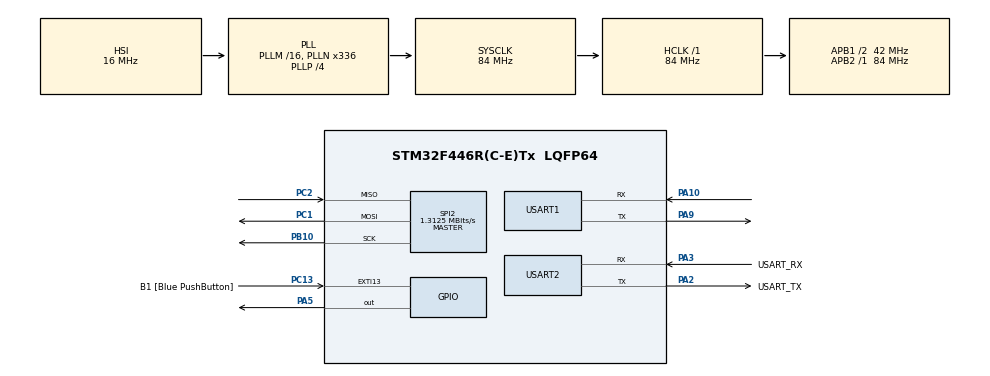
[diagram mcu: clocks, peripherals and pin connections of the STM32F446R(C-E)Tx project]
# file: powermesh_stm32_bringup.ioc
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Dma.Request0=USART1_RX
Dma.Request1=USART1_TX
Dma.Request2=USART2_RX
Dma.Request3=USART2_TX
Dma.USART1_RX.0.Direction=DMA_PERIPH_TO_MEMORY
Dma.USART1_RX.0.FIFOMode=DMA_FIFOMODE_DISABLE
Dma.USART1_RX.0.Instance=DMA2_Stream2
Dma.USART1_RX.0.MemDataAlignment=DMA_MDATAALIGN_BYTE
Dma.USART1_RX.0.MemInc=DMA_MINC_ENABLE
Dma.USART1_RX.0.Mode=DMA_CIRCULAR
Dma.USART1_RX.0.PeriphDataAlignment=DMA_PDATAALIGN_BYTE
Dma.USART1_RX.0.PeriphInc=DMA_PINC_DISABLE
Dma.USART1_RX.0.Priority=DMA_PRIORITY_HIGH
Dma.USART1_TX.1.Direction=DMA_MEMORY_TO_PERIPH
Dma.USART1_TX.1.FIFOMode=DMA_FIFOMODE_DISABLE
Dma.USART1_TX.1.Instance=DMA2_Stream7
Dma.USART1_TX.1.MemDataAlignment=DMA_MDATAALIGN_BYTE
Dma.USART1_TX.1.MemInc=DMA_MINC_ENABLE
Dma.USART1_TX.1.Mode=DMA_NORMAL
Dma.USART1_TX.1.PeriphDataAlignment=DMA_PDATAALIGN_BYTE
Dma.USART1_TX.1.PeriphInc=DMA_PINC_DISABLE
Dma.USART1_TX.1.Priority=DMA_PRIORITY_MEDIUM
Dma.USART2_RX.2.Direction=DMA_PERIPH_TO_MEMORY
Dma.USART2_RX.2.FIFOMode=DMA_FIFOMODE_DISABLE
Dma.USART2_RX.2.Instance=DMA1_Stream5
Dma.USART2_RX.2.MemDataAlignment=DMA_MDATAALIGN_BYTE
Dma.USART2_RX.2.MemInc=DMA_MINC_ENABLE
Dma.USART2_RX.2.Mode=DMA_CIRCULAR
Dma.USART2_RX.2.PeriphDataAlignment=DMA_PDATAALIGN_BYTE
Dma.USART2_RX.2.PeriphInc=DMA_PINC_DISABLE
Dma.USART2_RX.2.Priority=DMA_PRIORITY_HIGH
Dma.USART2_TX.3.Direction=DMA_MEMORY_TO_PERIPH
Dma.USART2_TX.3.FIFOMode=DMA_FIFOMODE_DISABLE
Dma.USART2_TX.3.Instance=DMA1_Stream6
Dma.USART2_TX.3.MemDataAlignment=DMA_MDATAALIGN_BYTE
Dma.USART2_TX.3.MemInc=DMA_MINC_ENABLE
Dma.USART2_TX.3.Mode=DMA_NORMAL
Dma.USART2_TX.3.PeriphDataAlignment=DMA_PDATAALIGN_BYTE
Dma.USART2_TX.3.PeriphInc=DMA_PINC_DISABLE
Dma.USART2_TX.3.Priority=DMA_PRIORITY_MEDIUM
Mcu.Family=STM32F4
Mcu.Name=STM32F446R(C-E)Tx
Mcu.Package=LQFP64
NVIC.DMA1_Stream5_IRQn=true\:5\:0\:true\:false\:true\:false\:true\:true
NVIC.DMA1_Stream6_IRQn=true\:5\:0\:true\:false\:true\:false\:true\:true
NVIC.DMA2_Stream2_IRQn=true\:5\:0\:true\:false\:true\:false\:true\:true
NVIC.DMA2_Stream7_IRQn=true\:5\:0\:true\:false\:true\:false\:true\:true
NVIC.PriorityGroup=NVIC_PRIORITYGROUP_4
NVIC.USART1_IRQn=true\:5\:0\:true\:false\:true\:true\:true\:true
NVIC.USART2_IRQn=true\:5\:0\:true\:false\:true\:true\:true\:true
PA10.Mode=Asynchronous
PA10.Signal=USART1_RX
PA13.GPIO_Label=TMS
PA13.Mode=Serial_Wire
PA13.Signal=SYS_JTMS-SWDIO
PA14.GPIO_Label=TCK
PA14.Mode=Serial_Wire
PA14.Signal=SYS_JTCK-SWCLK
PA2.GPIO_Label=USART_TX
PA2.Mode=Asynchronous
PA2.Signal=USART2_TX
PA3.GPIO_Label=USART_RX
PA3.Mode=Asynchronous
PA3.Signal=USART2_RX
PA5.Signal=GPIO_Output
PA9.Mode=Asynchronous
PA9.Signal=USART1_TX
PB10.Mode=Full_Duplex_Master
PB10.Signal=SPI2_SCK
PB3.GPIO_Label=SWO
PB3.Signal=SYS_JTDO-SWO
PC1.Mode=Full_Duplex_Master
PC1.Signal=SPI2_MOSI
PC13.GPIO_Label=B1 [Blue PushButton]
PC13.GPIO_ModeDefaultEXTI=GPIO_MODE_IT_FALLING
PC13.Signal=GPXTI13
PC14-OSC32_IN.Mode=LSE-External-Oscillator
PC14-OSC32_IN.Signal=RCC_OSC32_IN
PC15-OSC32_OUT.Mode=LSE-External-Oscillator
PC15-OSC32_OUT.Signal=RCC_OSC32_OUT
PC2.Mode=Full_Duplex_Master
PC2.Signal=SPI2_MISO
PH0-OSC_IN.Mode=HSE-External-Oscillator
PH0-OSC_IN.Signal=RCC_OSC_IN
PH1-OSC_OUT.Mode=HSE-External-Oscillator
PH1-OSC_OUT.Signal=RCC_OSC_OUT
ProjectManager.HeapSize=0x200
ProjectManager.StackSize=0x400
ProjectManager.TargetToolchain=CMake
RCC.48MHZClocksFreq_Value=84000000
RCC.AHBFreq_Value=84000000
RCC.APB1CLKDivider=RCC_HCLK_DIV2
RCC.APB1Freq_Value=42000000
RCC.APB1TimFreq_Value=84000000
RCC.APB2Freq_Value=84000000
RCC.APB2TimFreq_Value=84000000
RCC.CortexFreq_Value=84000000
RCC.FLatency-AdvancedSettings=FLASH_LATENCY_2
RCC.HCLKFreq_Value=84000000
RCC.HSE_VALUE=8000000
RCC.HSI_VALUE=16000000
RCC.PLLN=336
RCC.PLLP=RCC_PLLP_DIV4
RCC.SYSCLKFreq_VALUE=84000000
RCC.SYSCLKSource=RCC_SYSCLKSOURCE_PLLCLK
RCC.USBFreq_Value=168000000
RCC.VCOOutputFreq_Value=336000000
SPI2.BaudRatePrescaler=SPI_BAUDRATEPRESCALER_32
SPI2.CalculateBaudRate=1.3125 MBits/s
SPI2.Direction=SPI_DIRECTION_2LINES
SPI2.Mode=SPI_MODE_MASTER
SPI2.VirtualType=VM_MASTER
USART1.VirtualMode=VM_ASYNC
USART2.VirtualMode=VM_ASYNC
board=NUCLEO-F446RE

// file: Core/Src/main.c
/* USER CODE BEGIN Header */
/**
  ******************************************************************************
  * @file           : main.c
  * @brief          : Main program body
  ******************************************************************************
  * @attention
  *
  * Copyright (c) 2026 STMicroelectronics.
  * All rights reserved.
  *
  * This software is licensed under terms that can be found in the LICENSE file
  * in the root directory of this software component.
  * If no LICENSE file comes with this software, it is provided AS-IS.
  *
  ******************************************************************************
  */
/* USER CODE END Header */
#include "main.h"
#include "dma.h"
#include "spi.h"
#include "usart.h"
#include "gpio.h"

/* USER CODE BEGIN Includes */
#include "powermesh_board.h"
#include "uart_transport.h"
#include "packet_router.h"
/* USER CODE END Includes */

/* USER CODE BEGIN PV */
static uart_transport_t pi_transport;
static uart_transport_t remote_transport;
static packet_router_t router;

static packet_port_t pi_port = PACKET_PORT_GATEWAY;
static packet_port_t remote_port = PACKET_PORT_REMOTE;
/* USER CODE END PV */

void SystemClock_Config(void);

/* USER CODE BEGIN 0 */
// Adapt the shared router interface to the F4 HAL UART transport.
static bool send_uart_frame(
    void *context,
    uint8_t type,
    uint16_t sequence,
    const uint8_t *payload,
    uint16_t length
)
{
    uart_transport_t *transport = (uart_transport_t *)context;

    return uart_transport_send(
        transport,
        type,
        sequence,
        payload,
        length
    ) == HAL_OK;
}

// Receive complete, CRC-validated frames from either UART.
static void on_uart_frame(const uart_frame_t *frame, void *context)
{
    if (frame == NULL || context == NULL)
    {
        return;
    }

    packet_port_t source = *(packet_port_t *)context;

    bool accepted = packet_router_receive(
        &router,
        source,
        frame
    );

    // Indicate that a DATA packet entered the forwarding queue.
    if (accepted && frame->type == UART_FRAME_TYPE_DATA)
    {
        HAL_GPIO_TogglePin(GPIOA, GPIO_PIN_5);
    }
}
/* USER CODE END 0 */

int main(void)
{

  /* MCU Configuration--------------------------------------------------------*/

  /* Reset of all peripherals, Initializes the Flash interface and the Systick. */
  HAL_Init();

  /* Configure the system clock */
  SystemClock_Config();

  /* Initialize all configured peripherals */
  MX_GPIO_Init();
  MX_DMA_Init();
  MX_USART2_UART_Init();
  MX_SPI2_Init();
  MX_USART1_UART_Init();
  /* USER CODE BEGIN 2 */
  // Confirm DMA is configured for both UARTs.
  if (POWERMESH_PI_UART->hdmarx == NULL ||
      POWERMESH_PI_UART->hdmatx == NULL ||
      POWERMESH_REMOTE_UART->hdmarx == NULL ||
      POWERMESH_REMOTE_UART->hdmatx == NULL)
  {
      Error_Handler();
  }

  // Connect the shared router to the two F4 UART transports.
  if (!packet_router_init(
          &router,
          send_uart_frame,
          &pi_transport,
          send_uart_frame,
          &remote_transport))
  {
      Error_Handler();
  }

  // Start Pi UART reception on USART2.
  if (uart_transport_start(
          &pi_transport,
          POWERMESH_PI_UART,
          on_uart_frame,
          &pi_port) != HAL_OK)
  {
      Error_Handler();
  }

  // Start remote UART reception on USART1.
  if (uart_transport_start(
          &remote_transport,
          POWERMESH_REMOTE_UART,
          on_uart_frame,
          &remote_port) != HAL_OK)
  {
      Error_Handler();
  }
  /* USER CODE END 2 */

  /* Infinite loop */
  while (1)
  {

    /* USER CODE BEGIN 3 */

    uart_transport_poll(&pi_transport);
    uart_transport_poll(&remote_transport);

    packet_router_poll(&router);
  }
  /* USER CODE END 3 */
}

void SystemClock_Config(void)
{
  RCC_OscInitTypeDef RCC_OscInitStruct = {0};
  RCC_ClkInitTypeDef RCC_ClkInitStruct = {0};

  /** Configure the main internal regulator output voltage
  */
  __HAL_RCC_PWR_CLK_ENABLE();
  __HAL_PWR_VOLTAGESCALING_CONFIG(PWR_REGULATOR_VOLTAGE_SCALE3);

  /** Initializes the RCC Oscillators according to the specified parameters
  * in the RCC_OscInitTypeDef structure.
  */
  RCC_OscInitStruct.OscillatorType = RCC_OSCILLATORTYPE_HSI;
  RCC_OscInitStruct.HSIState = RCC_HSI_ON;
  RCC_OscInitStruct.HSICalibrationValue = RCC_HSICALIBRATION_DEFAULT;
  RCC_OscInitStruct.PLL.PLLState = RCC_PLL_ON;
  RCC_OscInitStruct.PLL.PLLSource = RCC_PLLSOURCE_HSI;
  RCC_OscInitStruct.PLL.PLLM = 16;
  RCC_OscInitStruct.PLL.PLLN = 336;
  RCC_OscInitStruct.PLL.PLLP = RCC_PLLP_DIV4;
  RCC_OscInitStruct.PLL.PLLQ = 2;
  RCC_OscInitStruct.PLL.PLLR = 2;
  if (HAL_RCC_OscConfig(&RCC_OscInitStruct) != HAL_OK)
  {
    Error_Handler();
  }

  /** Initializes the CPU, AHB and APB buses clocks
  */
  RCC_ClkInitStruct.ClockType = RCC_CLOCKTYPE_HCLK|RCC_CLOCKTYPE_SYSCLK
                              |RCC_CLOCKTYPE_PCLK1|RCC_CLOCKTYPE_PCLK2;
  RCC_ClkInitStruct.SYSCLKSource = RCC_SYSCLKSOURCE_PLLCLK;
  RCC_ClkInitStruct.AHBCLKDivider = RCC_SYSCLK_DIV1;
  RCC_ClkInitStruct.APB1CLKDivider = RCC_HCLK_DIV2;
  RCC_ClkInitStruct.APB2CLKDivider = RCC_HCLK_DIV1;

  if (HAL_RCC_ClockConfig(&RCC_ClkInitStruct, FLASH_LATENCY_2) != HAL_OK)
  {
    Error_Handler();
  }
}

void Error_Handler(void)
{
  __disable_irq();
  while (1)
  {
  }
}
